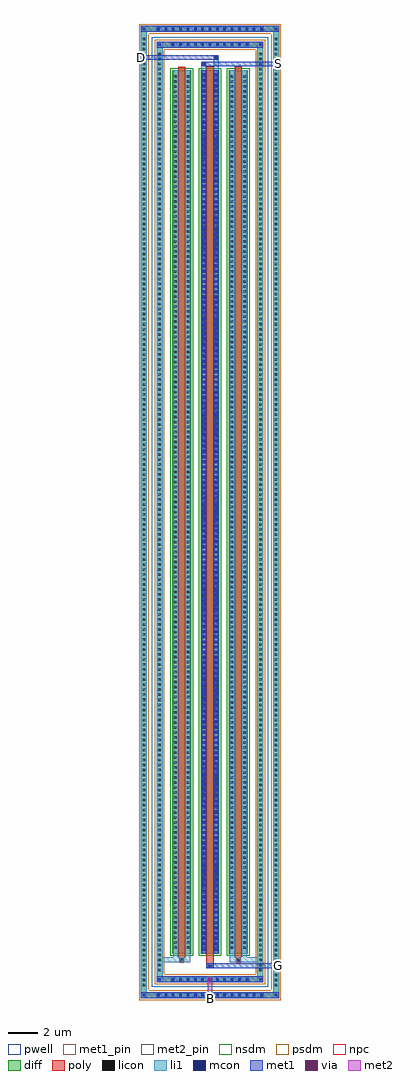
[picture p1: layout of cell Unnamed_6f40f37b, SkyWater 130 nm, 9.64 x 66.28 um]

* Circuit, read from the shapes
.subckt Unnamed_6f40f37b B D G S
XM1 B B B VSUBS sky130_fd_pr__nfet_01v8 w=60 l=0.5 m=2
XM2 D G S VSUBS sky130_fd_pr__nfet_01v8 w=60 l=0.5
.ends

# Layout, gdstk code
import gdstk
lib = gdstk.Library(unit=1e-6, precision=1e-09)
def R(c, l, rs):  # rectangles x0, y0, x1, y1
    for r in rs: c.add(gdstk.rectangle(r[:2], r[2:], *l))
def A(c, l, x, y, w, h, nx, ny, dx, dy):  # array of equal rectangles
    R(c, l, [(x+i*dx, y+j*dy, x+i*dx+w, y+j*dy+h) for i in range(nx) for j in range(ny)])
def P(c, l, *ps):  # polygons
    for p in ps: c.add(gdstk.Polygon(p, *l))
pwell = (64, 44)
diff = (65, 20)
poly = (66, 20)
licon = (66, 44)
li1 = (67, 20)
mcon = (67, 44)
met1_pin = (68, 16)
met1 = (68, 20)
via = (68, 44)
met2_pin = (69, 16)
met2 = (69, 20)
nsdm = (93, 44)
psdm = (94, 20)
npc = (95, 20)

unnamed_6f40f37b = lib.new_cell('Unnamed_6f40f37b')
R(unnamed_6f40f37b, pwell, [(-3.94,-32.255,3.94,32.255)])
A(unnamed_6f40f37b, diff, -3.705, -33.01, 0.41, 0.41, 15, 2, 0.5, 65.61)
A(unnamed_6f40f37b, diff, -4.69, -32.335, 0.41, 0.41, 1, 190, 0, 0.34)
A(unnamed_6f40f37b, diff, 4.28, -32.335, 0.41, 0.41, 1, 190, 0, 0.34)
A(unnamed_6f40f37b, diff, -2.705, -31.945, 0.41, 0.41, 11, 2, 0.5, 63.48)
A(unnamed_6f40f37b, diff, -3.63, -31.315, 0.41, 0.41, 1, 184, 0, 0.34)
A(unnamed_6f40f37b, diff, 3.22, -31.315, 0.41, 0.41, 1, 184, 0, 0.34)
A(unnamed_6f40f37b, diff, -2.56, -30, 1.28, 60, 3, 1, 1.92, 0)
R(unnamed_6f40f37b, diff, [(-3.705,-33.01,3.705,-32.6), (-4.69,-32.335,-4.28,32.335), (4.28,-32.335,4.69,32.335), (-2.705,-31.945,2.705,-31.535), (-3.63,-31.315,-3.22,31.315), (3.22,-31.315,3.63,31.315), (-2.705,31.535,2.705,31.945), (-3.705,32.6,3.705,33.01)])
P(unnamed_6f40f37b, diff, [(4.69,33.01),(-4.69,33.01),(-4.69,-32.6),(-4.28,-32.6),(-4.28,32.6),(4.28,32.6),(4.28,-32.6),(-4.28,-32.6),(-4.69,-32.6),(-4.69,-33.01),(4.69,-33.01)],
  [(3.63,31.945),(-3.63,31.945),(-3.63,-31.535),(-3.22,-31.535),(-3.22,31.535),(3.22,31.535),(3.22,-31.535),(-3.22,-31.535),(-3.63,-31.535),(-3.63,-31.945),(3.63,-31.945)])
A(unnamed_6f40f37b, poly, -2.17, -30.25, 0.5, 60.5, 3, 1, 1.92, 0)
R(unnamed_6f40f37b, poly, [(-0.25,-30.98,0.25,-30.65), (-0.165,-30.98,0.165,-30.65), (-0.25,-30.65,0.25,-30.25), (-2.085,-30.58,-1.755,-30.25), (-2.085,-30.58,-1.755,-30.25), (1.755,-30.58,2.085,-30.25), (1.755,-30.58,2.085,-30.25)])
A(unnamed_6f40f37b, licon, -3.585, -32.89, 0.17, 0.17, 15, 2, 0.5, 65.61)
A(unnamed_6f40f37b, licon, -4.57, -32.215, 0.17, 0.17, 1, 190, 0, 0.34)
A(unnamed_6f40f37b, licon, 4.4, -32.215, 0.17, 0.17, 1, 190, 0, 0.34)
A(unnamed_6f40f37b, licon, -2.585, -31.825, 0.17, 0.17, 11, 2, 0.5, 63.48)
A(unnamed_6f40f37b, licon, -3.51, -31.195, 0.17, 0.17, 1, 184, 0, 0.34)
A(unnamed_6f40f37b, licon, 3.34, -31.195, 0.17, 0.17, 1, 184, 0, 0.34)
A(unnamed_6f40f37b, licon, -2.42, -29.665, 0.17, 0.17, 1, 175, 0, 0.34)
A(unnamed_6f40f37b, licon, -1.59, -29.665, 0.17, 0.17, 1, 175, 0, 0.34)
A(unnamed_6f40f37b, licon, -0.5, -29.665, 0.17, 0.17, 1, 175, 0, 0.34)
A(unnamed_6f40f37b, licon, 0.33, -29.665, 0.17, 0.17, 1, 175, 0, 0.34)
A(unnamed_6f40f37b, licon, 1.42, -29.665, 0.17, 0.17, 1, 175, 0, 0.34)
A(unnamed_6f40f37b, licon, 2.25, -29.665, 0.17, 0.17, 1, 175, 0, 0.34)
R(unnamed_6f40f37b, licon, [(-0.085,-30.9,0.085,-30.73), (-2.005,-30.5,-1.835,-30.33), (1.835,-30.5,2.005,-30.33)])
A(unnamed_6f40f37b, li1, -3.665, -32.97, 0.33, 0.33, 15, 2, 0.5, 65.61)
A(unnamed_6f40f37b, li1, -4.65, -32.295, 0.33, 0.33, 1, 190, 0, 0.34)
A(unnamed_6f40f37b, li1, 4.32, -32.295, 0.33, 0.33, 1, 190, 0, 0.34)
A(unnamed_6f40f37b, li1, -2.665, -31.905, 0.33, 0.33, 11, 2, 0.5, 63.48)
A(unnamed_6f40f37b, li1, -3.59, -31.275, 0.33, 0.33, 1, 184, 0, 0.34)
A(unnamed_6f40f37b, li1, 3.26, -31.275, 0.33, 0.33, 1, 184, 0, 0.34)
A(unnamed_6f40f37b, li1, -0.5, -29.785, 0.17, 0.17, 1, 166, 0, 0.36)
A(unnamed_6f40f37b, li1, 0.33, -29.785, 0.17, 0.17, 1, 166, 0, 0.36)
A(unnamed_6f40f37b, li1, -2.5, -29.745, 0.33, 0.33, 1, 175, 0, 0.34)
A(unnamed_6f40f37b, li1, -1.67, -29.745, 0.33, 0.33, 1, 175, 0, 0.34)
A(unnamed_6f40f37b, li1, -0.58, -29.745, 0.33, 0.33, 1, 175, 0, 0.34)
A(unnamed_6f40f37b, li1, 0.25, -29.745, 0.33, 0.33, 1, 175, 0, 0.34)
A(unnamed_6f40f37b, li1, 1.34, -29.745, 0.33, 0.33, 1, 175, 0, 0.34)
A(unnamed_6f40f37b, li1, 2.17, -29.745, 0.33, 0.33, 1, 175, 0, 0.34)
R(unnamed_6f40f37b, li1, [(-4.69,-33.01,-4.28,-32.6), (4.28,-33.01,4.69,-32.6), (-3.665,-32.97,3.665,-32.64), (-4.57,-32.89,-4.4,-32.72), (-4.57,-32.89,-4.4,-32.72), (4.4,-32.89,4.57,-32.72), (4.4,-32.89,4.57,-32.72), (-4.69,-32.6,-4.28,32.6), (4.28,-32.6,4.69,32.6), (-3.63,-31.945,-3.22,-31.535), (3.22,-31.945,3.63,-31.535), (-2.665,-31.905,2.665,-31.575), (-3.51,-31.825,-3.34,-31.655), (-3.51,-31.825,-3.34,-31.655), (3.34,-31.825,3.51,-31.655), (3.34,-31.825,3.51,-31.655), (-3.63,-31.535,-3.22,31.535), (3.22,-31.535,3.63,31.535), (-0.165,-30.98,0.165,-30.65), (-3.63,-30.58,-2.085,-30.25), (-2.5,-30.58,-2.085,-30.25), (-2.5,-30.58,-2.17,-30), (-2.085,-30.58,-1.755,-30.25), (-1.755,-30.58,-1.34,-30.25), (-1.67,-30.58,-1.34,-30), (1.34,-30.58,1.755,-30.25), (1.34,-30.58,1.67,-30), (1.755,-30.58,2.085,-30.25), (1.755,-30.58,3.63,-30.25), (2.085,-30.58,2.5,-30.25), (2.17,-30.58,2.5,-30), (-2.5,-30,-2.17,30), (-1.67,-30,-1.34,30), (-0.58,-30,-0.25,30), (0.25,-30,0.58,30), (1.34,-30,1.67,30), (2.17,-30,2.5,30), (-0.5,-29.785,-0.33,29.785), (0.33,-29.785,0.5,29.785), (-0.58,30,-0.25,30.515), (0.25,30,0.58,30.945), (-0.5,30.345,-0.33,30.515), (0.33,30.775,0.5,30.945), (-3.63,31.535,-3.22,31.945), (3.22,31.535,3.63,31.945), (-2.665,31.575,2.665,31.905), (-3.51,31.655,-3.34,31.825), (-3.51,31.655,-3.34,31.825), (3.34,31.655,3.51,31.825), (3.34,31.655,3.51,31.825), (-4.69,32.6,-4.28,33.01), (4.28,32.6,4.69,33.01), (-3.665,32.64,3.665,32.97), (-4.57,32.72,-4.4,32.89), (-4.57,32.72,-4.4,32.89), (4.4,32.72,4.57,32.89), (4.4,32.72,4.57,32.89)])
A(unnamed_6f40f37b, mcon, -3.585, -32.89, 0.17, 0.17, 15, 2, 0.5, 65.61)
A(unnamed_6f40f37b, mcon, -2.585, -31.825, 0.17, 0.17, 11, 2, 0.5, 63.48)
A(unnamed_6f40f37b, mcon, -0.5, -29.785, 0.17, 0.17, 1, 166, 0, 0.36)
A(unnamed_6f40f37b, mcon, 0.33, -29.785, 0.17, 0.17, 1, 166, 0, 0.36)
R(unnamed_6f40f37b, mcon, [(-4.57,-32.89,-4.4,-32.72), (4.4,-32.89,4.57,-32.72), (-3.51,-31.825,-3.34,-31.655), (3.34,-31.825,3.51,-31.655), (-0.085,-30.9,0.085,-30.73), (-0.5,30.345,-0.33,30.515), (0.33,30.775,0.5,30.945), (-3.51,31.655,-3.34,31.825), (3.34,31.655,3.51,31.825), (-4.57,32.72,-4.4,32.89), (4.4,32.72,4.57,32.89)])
R(unnamed_6f40f37b, met1_pin, [(4.55,-30.95,4.82,-30.68), (4.55,30.295,4.82,30.565), (-4.82,30.725,-4.55,30.995)])
A(unnamed_6f40f37b, met1, -3.645, -32.95, 0.29, 0.29, 15, 2, 0.5, 65.61)
A(unnamed_6f40f37b, met1, -2.645, -31.885, 0.29, 0.29, 11, 2, 0.5, 63.48)
A(unnamed_6f40f37b, met1, -0.56, -29.845, 0.29, 0.29, 1, 166, 0, 0.36)
A(unnamed_6f40f37b, met1, 0.27, -29.845, 0.29, 0.29, 1, 166, 0, 0.36)
R(unnamed_6f40f37b, met1, [(-4.69,-33.01,-4.28,-32.6), (-4.69,-33.01,-4.28,-32.6), (-4.28,-33.01,4.28,-32.6), (4.28,-33.01,4.69,-32.6), (4.28,-33.01,4.69,-32.6), (-4.63,-32.95,-4.34,-32.66), (4.34,-32.95,4.63,-32.66), (-3.63,-31.945,-3.22,-31.535), (-3.63,-31.945,-3.22,-31.535), (-3.22,-31.945,3.22,-31.535), (3.22,-31.945,3.63,-31.535), (3.22,-31.945,3.63,-31.535), (-3.57,-31.885,-3.28,-31.595), (3.28,-31.885,3.57,-31.595), (-0.25,-30.98,0.25,-30.65), (0.25,-30.98,4.82,-30.65), (-0.145,-30.96,0.145,-30.67), (-0.56,-30,-0.27,30), (0.27,-30,0.56,30), (-0.56,30.285,-0.27,30.575), (-0.56,30.285,0.56,30.575), (0.56,30.285,4.82,30.575), (-4.82,30.715,-0.56,31.005), (-0.56,30.715,0.56,31.005), (0.27,30.715,0.56,31.005), (-3.63,31.535,-3.22,31.945), (-3.63,31.535,-3.22,31.945), (-3.22,31.535,3.22,31.945), (3.22,31.535,3.63,31.945), (3.22,31.535,3.63,31.945), (-3.57,31.595,-3.28,31.885), (3.28,31.595,3.57,31.885), (-4.69,32.6,-4.28,33.01), (-4.69,32.6,-4.28,33.01), (-4.28,32.6,4.28,33.01), (4.28,32.6,4.69,33.01), (4.28,32.6,4.69,33.01), (-4.63,32.66,-4.34,32.95), (4.34,32.66,4.63,32.95)])
R(unnamed_6f40f37b, via, [(-0.075,-31.815,0.075,-31.665)])
R(unnamed_6f40f37b, met2_pin, [(-0.135,-33.14,0.135,-32.87)])
R(unnamed_6f40f37b, met2, [(-0.165,-33.14,0.165,-31.575), (-0.165,-31.905,0.165,-31.575)])
A(unnamed_6f40f37b, nsdm, -2.69, -30.13, 1.54, 60.26, 3, 1, 1.92, 0)
P(unnamed_6f40f37b, psdm, [(4.82,33.14),(-4.82,33.14),(-4.82,-32.47),(-4.15,-32.47),(-4.15,32.47),(4.15,32.47),(4.15,-32.47),(-4.15,-32.47),(-4.82,-32.47),(-4.82,-33.14),(4.82,-33.14)],
  [(3.76,32.075),(-3.76,32.075),(-3.76,-31.405),(-3.09,-31.405),(-3.09,31.405),(3.09,31.405),(3.09,-31.405),(-3.09,-31.405),(-3.76,-31.405),(-3.76,-32.075),(3.76,-32.075)])
R(unnamed_6f40f37b, npc, [(-0.185,-31,0.185,-30.63), (-2.105,-30.6,-1.735,-30.23), (1.735,-30.6,2.105,-30.23)])
unnamed_6f40f37b.add(gdstk.Label('D', (-4.685,30.86), layer=68, texttype=5))
unnamed_6f40f37b.add(gdstk.Label('S', (4.685,30.43), layer=68, texttype=5))
unnamed_6f40f37b.add(gdstk.Label('G', (4.685,-30.815), layer=68, texttype=5))
unnamed_6f40f37b.add(gdstk.Label('B', (0,-33.005), layer=69, texttype=5))

lib.write_gds('Unnamed_6f40f37b.gds')
